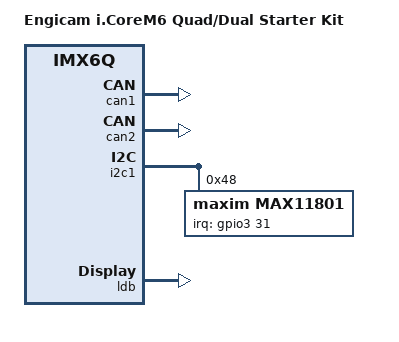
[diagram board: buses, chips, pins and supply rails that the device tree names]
/*
 * Copyright (C) 2016 Amarula Solutions B.V.
 * Copyright (C) 2016 Engicam S.r.l.
 *
 * This file is dual-licensed: you can use it either under the terms
 * of the GPL or the X11 license, at your option. Note that this dual
 * licensing only applies to this file, and not this project as a
 * whole.
 *
 *  a) This file is free software; you can redistribute it and/or
 *     modify it under the terms of the GNU General Public License
 *     version 2 as published by the Free Software Foundation.
 *
 *     This file is distributed in the hope that it will be useful,
 *     but WITHOUT ANY WARRANTY; without even the implied warranty of
 *     MERCHANTABILITY or FITNESS FOR A PARTICULAR PURPOSE.  See the
 *     GNU General Public License for more details.
 *
 * Or, alternatively,
 *
 *  b) Permission is hereby granted, free of charge, to any person
 *     obtaining a copy of this software and associated documentation
 *     files (the "Software"), to deal in the Software without
 *     restriction, including without limitation the rights to use,
 *     copy, modify, merge, publish, distribute, sublicense, and/or
 *     sell copies of the Software, and to permit persons to whom the
 *     Software is furnished to do so, subject to the following
 *     conditions:
 *
 *     The above copyright notice and this permission notice shall be
 *     included in all copies or substantial portions of the Software.
 *
 *     THE SOFTWARE IS PROVIDED "AS IS", WITHOUT WARRANTY OF ANY KIND,
 *     EXPRESS OR IMPLIED, INCLUDING BUT NOT LIMITED TO THE WARRANTIES
 *     OF MERCHANTABILITY, FITNESS FOR A PARTICULAR PURPOSE AND
 *     NONINFRINGEMENT. IN NO EVENT SHALL THE AUTHORS OR COPYRIGHT
 *     HOLDERS BE LIABLE FOR ANY CLAIM, DAMAGES OR OTHER LIABILITY,
 *     WHETHER IN AN ACTION OF CONTRACT, TORT OR OTHERWISE, ARISING
 *     FROM, OUT OF OR IN CONNECTION WITH THE SOFTWARE OR THE USE OR
 *     OTHER DEALINGS IN THE SOFTWARE.
 */

/dts-v1/;

#include "imx6q.dtsi"
#include "imx6qdl-icore.dtsi"

/ {
	model = "Engicam i.CoreM6 Quad/Dual Starter Kit";
	compatible = "engicam,imx6-icore", "fsl,imx6q";
};

&can1 {
	status = "okay";
};

&can2 {
	status = "okay";
};

&i2c1 {
	max11801: touchscreen@48 {
		compatible = "maxim,max11801";
		reg = <0x48>;
		interrupt-parent = <&gpio3>;
		interrupts = <31 IRQ_TYPE_EDGE_FALLING>;
	};
};

&ldb {
	status = "okay";

	lvds-channel@0 {
		fsl,data-mapping = "spwg";
		fsl,data-width = <18>;
		status = "okay";

		display-timings {
			native-mode = <&timing0>;
			timing0: timing0 {
				clock-frequency = <60000000>;
				hactive = <800>;
				vactive = <480>;
				hback-porch = <30>;
				hfront-porch = <30>;
				vback-porch = <5>;
				vfront-porch = <5>;
				hsync-len = <64>;
				vsync-len = <20>;
			};
		};
	};
};
